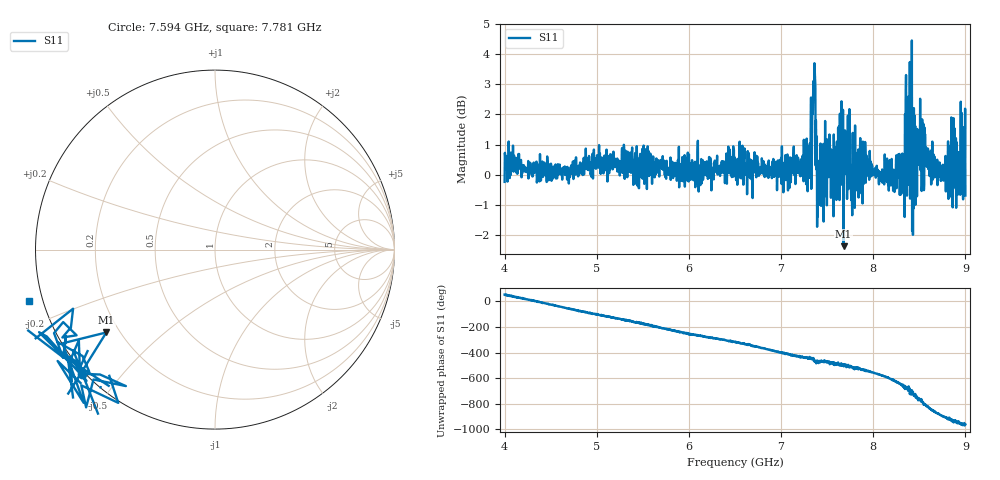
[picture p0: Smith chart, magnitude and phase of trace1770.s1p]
! Created with skrf 1.8.0 (http://scikit-rf.org).
# Hz S RI R 50.0
!freq ReS11 ImS11
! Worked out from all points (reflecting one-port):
!   1601 points, 4 GHz to 9 GHz, reference 50 ohm
!   lowest |S11| = -2.4 dB at 7.678 GHz (marker M1), VSWR 7.37, Z = 7.54 - j16.5 ohm
!   phase of S11 starts at 53 deg and turns -1015 deg over the sweep
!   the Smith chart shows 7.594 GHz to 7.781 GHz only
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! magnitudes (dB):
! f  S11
! 4 GHz  -0.2
! 4.069 GHz  0.7
! 4.625 GHz  -0.2
! 5.25 GHz  0.0
! 5.875 GHz  -0.1
! 6.5 GHz  0.0
! 7.125 GHz  0.3
! 7.309 GHz  -0.1
! 7.347 GHz  2.5
! 7.362 GHz  3.7
! 7.409 GHz  -0.2
! 7.503 GHz  0.4
! 7.591 GHz  0.9
! 7.65 GHz  1.0
! 7.678 GHz  -2.4
! 7.75 GHz  -0.4
! 7.775 GHz  0.9
! 8.259 GHz  0.1
! 8.316 GHz  0.7
! 8.334 GHz  0.6
! 8.375 GHz  -0.3
! 8.447 GHz  2.0
! 8.519 GHz  0.9
! 8.712 GHz  0.1
! 8.866 GHz  0.3
! 8.919 GHz  -0.7
! 8.972 GHz  -0.4
! 9 GHz  -0.7
